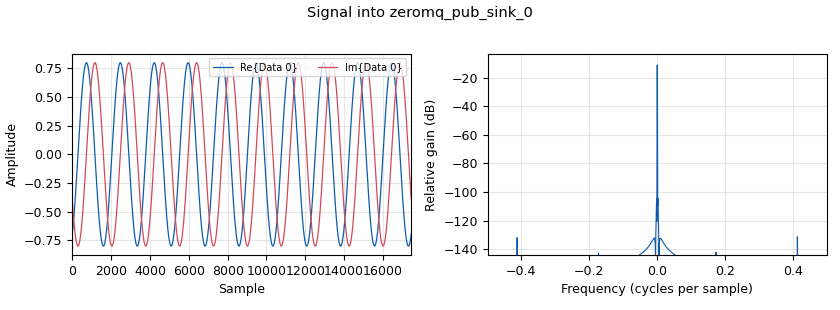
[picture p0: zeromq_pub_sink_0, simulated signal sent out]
options:
  parameters:
    author: martin
    generate_options: no_gui
    id: iq_sample_sender
    output_language: python
    run_options: run
    title: ZMQ Pipeline test sending
  states: {}

blocks:
- name: samp_rate
  id: variable
  parameters:
    value: 768e3
  states: {}
- name: analog_sig_source_x_0
  id: analog_sig_source_x
  parameters:
    amp: '0.8'
    freq: '440'
    offset: '0'
    phase: '0'
    samp_rate: samp_rate
    type: complex
    waveform: analog.GR_COS_WAVE
  states: {}
- name: blocks_throttle2_0
  id: blocks_throttle2
  parameters:
    samples_per_second: samp_rate
    type: complex
  states: {}
- name: zeromq_pub_sink_0
  id: zeromq_pub_sink
  parameters:
    address: ipc://@iq_samples.sock
    timeout: '100'
    type: complex
  states: {}

connections:
- [analog_sig_source_x_0, '0', blocks_throttle2_0, '0']
- [blocks_throttle2_0, '0', zeromq_pub_sink_0, '0']

metadata:
  file_format: 1
  grc_version: 3.10.11.0
